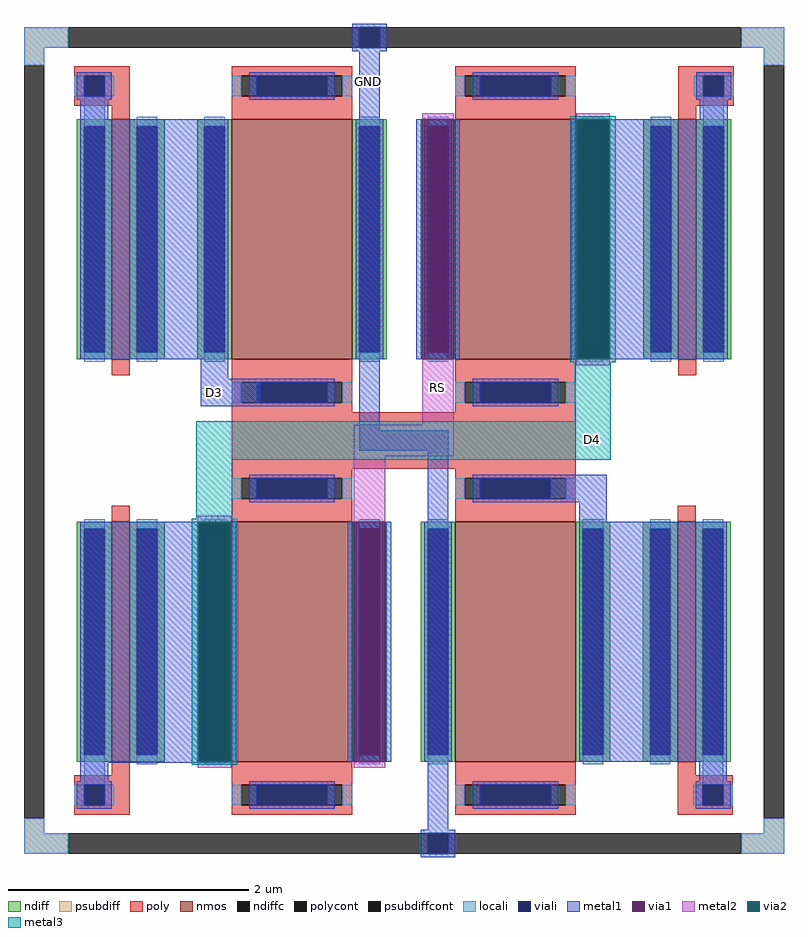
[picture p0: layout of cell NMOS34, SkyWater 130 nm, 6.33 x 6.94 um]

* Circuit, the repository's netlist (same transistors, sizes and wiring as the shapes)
* NGSPICE file created from NMOS34.ext - technology: sky130A

.subckt sky130_fd_pr__nfet_01v8_8UMB6F a_n344_n200# a_286_n200# a_86_n288# a_n86_n200#
+ a_n286_n288# a_28_n200# VSUBS
X0 a_n86_n200# a_n286_n288# a_n344_n200# VSUBS sky130_fd_pr__nfet_01v8 ad=0.58 pd=4.58 as=0.58 ps=4.58 w=2 l=1
X1 a_286_n200# a_86_n288# a_28_n200# VSUBS sky130_fd_pr__nfet_01v8 ad=0.58 pd=4.58 as=0.58 ps=4.58 w=2 l=1
.ends

.subckt sky130_fd_pr__nfet_01v8_TC9PLT a_15_n200# a_n15_n226# a_n73_n200# VSUBS
X0 a_15_n200# a_n15_n226# a_n73_n200# VSUBS sky130_fd_pr__nfet_01v8 ad=0.58 pd=4.58 as=0.58 ps=4.58 w=2 l=0.15
.ends

.subckt NMOS34 RS D3 D4 GND
Xsky130_fd_pr__nfet_01v8_8UMB6F_0 D3 D4 D3 GND D3 RS GND sky130_fd_pr__nfet_01v8_8UMB6F
Xsky130_fd_pr__nfet_01v8_8UMB6F_1 D4 D3 D3 RS D3 GND GND sky130_fd_pr__nfet_01v8_8UMB6F
Xsky130_fd_pr__nfet_01v8_TC9PLT_0 D3 D3 D3 GND sky130_fd_pr__nfet_01v8_TC9PLT
Xsky130_fd_pr__nfet_01v8_TC9PLT_1 D4 D4 D4 GND sky130_fd_pr__nfet_01v8_TC9PLT
Xsky130_fd_pr__nfet_01v8_TC9PLT_2 D3 D3 D3 GND sky130_fd_pr__nfet_01v8_TC9PLT
Xsky130_fd_pr__nfet_01v8_TC9PLT_3 D4 D4 D4 GND sky130_fd_pr__nfet_01v8_TC9PLT
.ends

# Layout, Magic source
magic
tech sky130A
magscale 1 2
<< psubdiff >>
rect -292 1277 -218 1311
rect 902 1277 973 1311
rect -292 1248 -258 1277
rect 939 1248 973 1277
rect -292 -31 -258 -6
rect 939 -31 973 -6
rect -292 -65 -218 -31
rect 902 -65 973 -31
<< psubdiffcont >>
rect -218 1277 902 1311
rect -292 -6 -258 1248
rect 939 -6 973 1248
rect -218 -65 902 -31
<< poly >>
rect -208 1230 -116 1246
rect -208 1196 -192 1230
rect -158 1196 -116 1230
rect -208 1180 -116 1196
rect -146 1158 -116 1180
rect 797 1230 889 1246
rect 797 1196 839 1230
rect 873 1196 889 1230
rect 797 1180 889 1196
rect 797 1158 827 1180
rect 54 576 626 670
rect -146 66 -116 88
rect -208 50 -116 66
rect -208 16 -192 50
rect -158 16 -116 50
rect -208 0 -116 16
rect 796 66 826 88
rect 796 50 888 66
rect 796 16 838 50
rect 872 16 888 50
rect 796 0 888 16
<< polycont >>
rect -192 1196 -158 1230
rect 839 1196 873 1230
rect -192 16 -158 50
rect 838 16 872 50
<< locali >>
rect -292 1277 -218 1311
rect 902 1277 973 1311
rect -292 1248 -258 1277
rect 939 1248 973 1277
rect -208 1196 -192 1230
rect -158 1196 -142 1230
rect 823 1196 839 1230
rect 873 1196 889 1230
rect -192 1158 -158 1196
rect 839 1158 873 1196
rect -192 50 -158 88
rect 838 50 872 88
rect -208 16 -192 50
rect -158 16 -142 50
rect 822 16 838 50
rect 872 16 888 50
rect -292 -31 -258 -6
rect 939 -31 973 -6
rect -292 -65 -218 -31
rect 902 -65 973 -31
<< viali >>
rect 266 1277 300 1311
rect -192 1196 -158 1230
rect 839 1196 873 1230
rect -192 16 -158 50
rect 838 16 872 50
rect 380 -65 414 -31
<< metal1 >>
rect 254 1311 312 1317
rect 254 1277 266 1311
rect 300 1277 312 1311
rect 254 1271 312 1277
rect -204 1230 -146 1236
rect -204 1196 -192 1230
rect -158 1196 -146 1230
rect -204 1190 -146 1196
rect -198 1158 -152 1190
rect -198 758 48 1158
rect 2 726 48 758
rect 2 680 102 726
rect 266 640 300 1271
rect 827 1230 885 1236
rect 827 1196 839 1230
rect 873 1196 885 1230
rect 827 1190 885 1196
rect 833 1158 879 1190
rect 361 758 371 1158
rect 423 758 433 1158
rect 619 758 629 1158
rect 681 758 879 1158
rect 266 606 414 640
rect -197 88 -1 488
rect 51 88 61 488
rect 247 88 257 488
rect 309 88 319 488
rect -198 87 47 88
rect -198 56 -152 87
rect -204 50 -146 56
rect -204 16 -192 50
rect -158 16 -146 50
rect -204 10 -146 16
rect 380 -25 414 606
rect 584 520 678 566
rect 632 488 678 520
rect 632 88 878 488
rect 832 56 878 88
rect 826 50 884 56
rect 826 16 838 50
rect 872 16 884 50
rect 826 10 884 16
rect 368 -31 426 -25
rect 368 -65 380 -31
rect 414 -65 426 -31
rect 368 -71 426 -65
<< via1 >>
rect 371 758 423 1158
rect 629 758 681 1158
rect -1 88 51 488
rect 257 88 309 488
<< metal2 >>
rect 371 1158 423 1168
rect 371 649 423 758
rect 627 1158 683 1168
rect 627 748 683 758
rect 257 597 423 649
rect -3 488 53 498
rect -3 78 53 88
rect 257 488 309 597
rect 257 78 309 88
<< via2 >>
rect 627 758 629 1158
rect 629 758 681 1158
rect 681 758 683 1158
rect -3 88 -1 488
rect -1 88 51 488
rect 51 88 53 488
<< metal3 >>
rect 617 1158 693 1163
rect 617 758 627 1158
rect 683 758 693 1158
rect 617 753 693 758
rect 625 655 685 753
rect -5 591 685 655
rect -5 493 55 591
rect -13 488 63 493
rect -13 88 -3 488
rect 53 88 63 488
rect -13 83 63 88
use sky130_fd_pr__nfet_01v8_8UMB6F  sky130_fd_pr__nfet_01v8_8UMB6F_0
transform 1 0 340 0 1 958
box -344 -288 344 288
use sky130_fd_pr__nfet_01v8_8UMB6F  sky130_fd_pr__nfet_01v8_8UMB6F_1
transform 1 0 340 0 1 288
box -344 -288 344 288
use sky130_fd_pr__nfet_01v8_TC9PLT  sky130_fd_pr__nfet_01v8_TC9PLT_0
transform 1 0 -131 0 1 958
box -73 -226 73 226
use sky130_fd_pr__nfet_01v8_TC9PLT  sky130_fd_pr__nfet_01v8_TC9PLT_1
transform 1 0 812 0 1 958
box -73 -226 73 226
use sky130_fd_pr__nfet_01v8_TC9PLT  sky130_fd_pr__nfet_01v8_TC9PLT_2
transform 1 0 811 0 1 288
box -73 -226 73 226
use sky130_fd_pr__nfet_01v8_TC9PLT  sky130_fd_pr__nfet_01v8_TC9PLT_3
transform 1 0 -131 0 1 288
box -73 -226 73 226
<< labels >>
flabel metal2 396 711 396 711 0 FreeSans 320 0 0 0 RS
port 2 nsew
flabel metal1 25 703 25 703 0 FreeSans 320 0 0 0 D3
port 3 nsew
flabel metal3 655 625 655 625 0 FreeSans 320 0 0 0 D4
port 4 nsew
flabel metal1 281 1221 281 1221 0 FreeSans 320 0 0 0 GND
port 5 nsew
<< end >>

# cell sky130_fd_pr__nfet_01v8_8UMB6F: kit device sky130_fd_pr__nfet_01v8, w 2 l 1 m 1 nf 2 diffcov 100 polycov 100 guard 0 glc 1 grc 1 gtc 1 gbc 1 tbcov 100 rlcov 100 topc 1 botc 1 poverlap 0 doverlap 0 lmin 0.15 wmin 0.42 compatible {sky130_fd_pr__nfet_01v8 sky130_fd_pr__nfet_01v8_lvt sky130_fd_bs_flash__special_sonosfet_star sky130_fd_pr__nfet_g5v0d10v5 sky130_fd_pr__nfet_05v0_nvt sky130_fd_pr__nfet_03v3_nvt} full_metal 1 viasrc 100 viadrn 100 viagate 70 viagb 0 viagr 0 viagl 0 viagt 0

# cell sky130_fd_pr__nfet_01v8_TC9PLT: kit device sky130_fd_pr__nfet_01v8, w 2 l 0.150 m 1 nf 1 diffcov 100 polycov 100 guard 0 glc 1 grc 1 gtc 1 gbc 1 tbcov 100 rlcov 100 topc 0 botc 0 poverlap 0 doverlap 1 lmin 0.15 wmin 0.42 compatible {sky130_fd_pr__nfet_01v8 sky130_fd_pr__nfet_01v8_lvt sky130_fd_bs_flash__special_sonosfet_star sky130_fd_pr__nfet_g5v0d10v5 sky130_fd_pr__nfet_05v0_nvt sky130_fd_pr__nfet_03v3_nvt} full_metal 1 viasrc 100 viadrn 100 viagate 100 viagb 0 viagr 0 viagl 0 viagt 0
